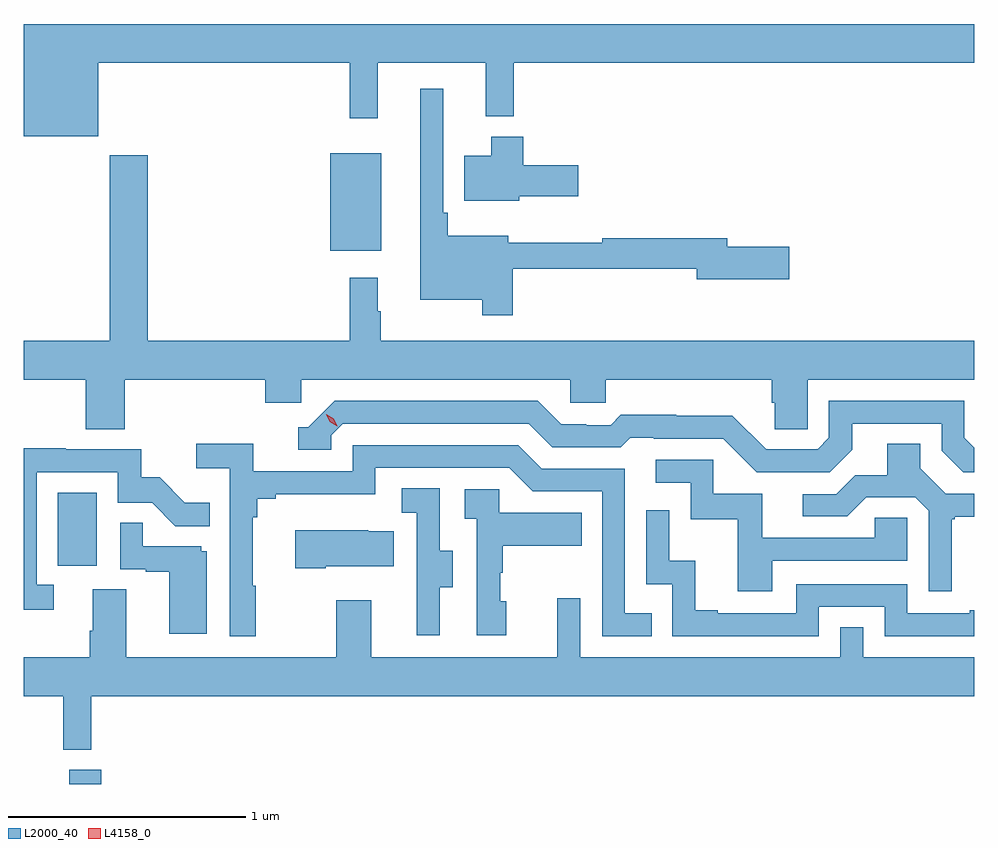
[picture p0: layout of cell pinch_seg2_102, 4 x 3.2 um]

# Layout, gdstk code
import gdstk
lib = gdstk.Library(unit=1e-6, precision=1e-09)
def R(c, l, rs):  # rectangles x0, y0, x1, y1
    for r in rs: c.add(gdstk.rectangle(r[:2], r[2:], *l))
def P(c, l, *ps):  # polygons
    for p in ps: c.add(gdstk.Polygon(p, *l))
L2000_40 = (2000, 40)
L4158_0 = (4158, 0)

pinch_seg2_102 = lib.new_cell('pinch_seg2_102')
R(pinch_seg2_102, L2000_40, [(1077.344,629.951,1077.479,630.01), (1077.296,630.87,1077.46,631.177), (1078.442,632.195,1078.657,632.605)])
P(pinch_seg2_102, L2000_40, [(1077.466,632.984),(1078.525,632.984),(1078.525,632.751),(1078.643,632.751),(1078.643,632.984),(1079.096,632.984),(1079.096,632.759),(1079.213,632.759),(1079.213,632.984),(1081.152,632.984),(1081.152,633.148),(1077.152,633.148),(1077.152,632.675),(1077.466,632.675)],
  [(1079.21,632.118),(1079.984,632.118),(1079.984,632.075),(1080.373,632.075),(1080.373,632.21),(1080.112,632.21),(1080.112,632.246),(1079.587,632.246),(1079.587,632.228),(1079.191,632.228),(1079.191,632.257),(1078.937,632.257),(1078.937,632.353),(1078.917,632.353),(1078.917,632.875),(1078.82,632.875),(1078.82,631.988),(1079.082,631.988),(1079.082,631.923),(1079.21,631.923)],
  [(1079.238,632.423),(1079.485,632.423),(1079.485,632.553),(1079.255,632.553),(1079.255,632.674),(1079.12,632.674),(1079.12,632.593),(1079.006,632.593),(1079.006,632.405),(1079.238,632.405)],
  [(1077.578,631.652),(1078.169,631.652),(1078.169,631.554),(1078.32,631.554),(1078.32,631.652),(1079.451,631.652),(1079.451,631.554),(1079.601,631.554),(1079.601,631.652),(1080.299,631.652),(1080.299,631.554),(1080.313,631.554),(1080.313,631.444),(1080.45,631.444),(1080.45,631.652),(1081.152,631.652),(1081.152,631.816),(1078.654,631.816),(1078.654,631.94),(1078.642,631.94),(1078.642,632.08),(1078.525,632.08),(1078.525,631.816),(1077.674,631.816),(1077.674,632.596),(1077.514,632.596),(1077.514,631.816),(1077.152,631.816),(1077.152,631.652),(1077.413,631.652),(1077.413,631.444),(1077.578,631.444)],
  [(1080.637,631.357),(1080.637,631.467),(1081.014,631.467),(1081.014,631.353),(1081.104,631.263),(1081.152,631.263),(1081.152,631.365),(1081.11,631.407),(1081.11,631.563),(1080.54,631.563),(1080.54,631.407),(1080.492,631.359),(1080.276,631.359),(1080.134,631.501),(1079.898,631.501),(1079.898,631.504),(1079.665,631.504),(1079.623,631.461),(1079.52,631.461),(1079.52,631.464),(1079.413,631.464),(1079.314,631.563),(1078.461,631.563),(1078.35,631.452),(1078.307,631.452),(1078.307,631.356),(1078.446,631.356),(1078.446,631.419),(1078.494,631.467),(1079.277,631.467),(1079.376,631.368),(1079.665,631.368),(1079.704,631.407),(1079.803,631.407),(1079.803,631.404),(1080.096,631.404),(1080.237,631.263),(1080.543,631.263)],
  [(1081.057,631.065),(1081.069,631.065),(1081.069,631.076),(1081.152,631.076),(1081.152,631.173),(1081.032,631.173),(1080.925,631.28),(1080.925,631.382),(1080.785,631.382),(1080.785,631.25),(1080.65,631.25),(1080.57,631.17),(1080.429,631.17),(1080.429,631.077),(1080.616,631.077),(1080.697,631.158),(1080.903,631.158),(1080.96,631.101),(1080.96,630.762),(1081.057,630.762)],
  [(1078.129,630.785),(1078.117,630.785),(1078.117,631.073),(1078.136,631.073),(1078.136,631.15),(1078.213,631.15),(1078.213,631.169),(1078.632,631.169),(1078.632,631.281),(1079.196,631.281),(1079.295,631.182),(1079.586,631.182),(1079.586,630.573),(1079.795,630.573),(1079.795,630.669),(1079.682,630.669),(1079.682,631.278),(1079.332,631.278),(1079.233,631.377),(1078.536,631.377),(1078.536,631.266),(1078.118,631.266),(1078.118,631.382),(1077.879,631.382),(1077.879,631.28),(1078.02,631.28),(1078.02,630.573),(1078.129,630.573)],
  [(1077.28,630.789),(1077.207,630.789),(1077.207,631.263),(1077.549,631.263),(1077.549,631.134),(1077.693,631.134),(1077.791,631.036),(1077.935,631.036),(1077.935,631.135),(1077.831,631.135),(1077.724,631.242),(1077.648,631.242),(1077.648,631.359),(1077.329,631.359),(1077.329,631.364),(1077.152,631.364),(1077.152,630.684),(1077.28,630.684)],
  [(1080.301,630.891),(1080.87,630.891),(1080.87,631.071),(1080.733,631.071),(1080.733,630.987),(1080.259,630.987),(1080.259,631.173),(1080.054,631.173),(1080.054,631.314),(1079.811,631.314),(1079.811,631.218),(1079.958,631.218),(1079.958,631.065),(1080.157,631.065),(1080.157,630.762),(1080.301,630.762)],
  [(1078.903,630.778),(1078.957,630.778),(1078.957,630.933),(1078.902,630.933),(1078.902,631.196),(1078.743,631.196),(1078.743,631.093),(1078.806,631.093),(1078.806,630.789),(1078.805,630.789),(1078.805,630.576),(1078.903,630.576)],
  [(1079.182,630.72),(1079.157,630.72),(1079.157,630.839),(1079.167,630.839),(1079.167,630.953),(1079.501,630.953),(1079.501,631.093),(1079.154,631.093),(1079.154,631.191),(1079.007,631.191),(1079.007,631.067),(1079.058,631.067),(1079.058,630.576),(1079.182,630.576)],
  [(1080.498,630.696),(1080.774,630.696),(1080.774,630.573),(1081.152,630.573),(1081.152,630.682),(1081.133,630.682),(1081.133,630.669),(1080.87,630.669),(1080.87,630.792),(1080.402,630.792),(1080.402,630.669),(1080.073,630.669),(1080.073,630.682),(1079.978,630.682),(1079.978,630.89),(1079.868,630.89),(1079.868,631.102),(1079.772,631.102),(1079.772,630.792),(1079.88,630.792),(1079.88,630.573),(1080.498,630.573)],
  [(1077.922,630.93),(1077.9,630.93),(1077.9,630.951),(1077.653,630.951),(1077.653,631.049),(1077.558,631.049),(1077.558,630.855),(1077.665,630.855),(1077.665,630.843),(1077.764,630.843),(1077.764,630.582),(1077.922,630.582)],
  [(1078.423,630.866),(1078.709,630.866),(1078.709,631.015),(1078.601,631.015),(1078.601,631.018),(1078.295,631.018),(1078.295,630.859),(1078.423,630.859)],
  [(1077.437,630.32),(1081.152,630.32),(1081.152,630.484),(1080.684,630.484),(1080.684,630.611),(1080.588,630.611),(1080.588,630.484),(1079.493,630.484),(1079.493,630.733),(1079.396,630.733),(1079.396,630.484),(1078.615,630.484),(1078.615,630.724),(1078.468,630.724),(1078.468,630.484),(1077.583,630.484),(1077.583,630.77),(1077.443,630.77),(1077.443,630.596),(1077.431,630.596),(1077.431,630.484),(1077.152,630.484),(1077.152,630.32),(1077.32,630.32),(1077.32,630.095),(1077.437,630.095)])
P(pinch_seg2_102, L4158_0, [(1078.472,631.455),(1078.441,631.474),(1078.425,631.507),(1078.425,631.507),(1078.426,631.507),(1078.456,631.488),(1078.472,631.455),(1078.472,631.455)])

lib.write_gds('pinch_seg2_102.gds')
